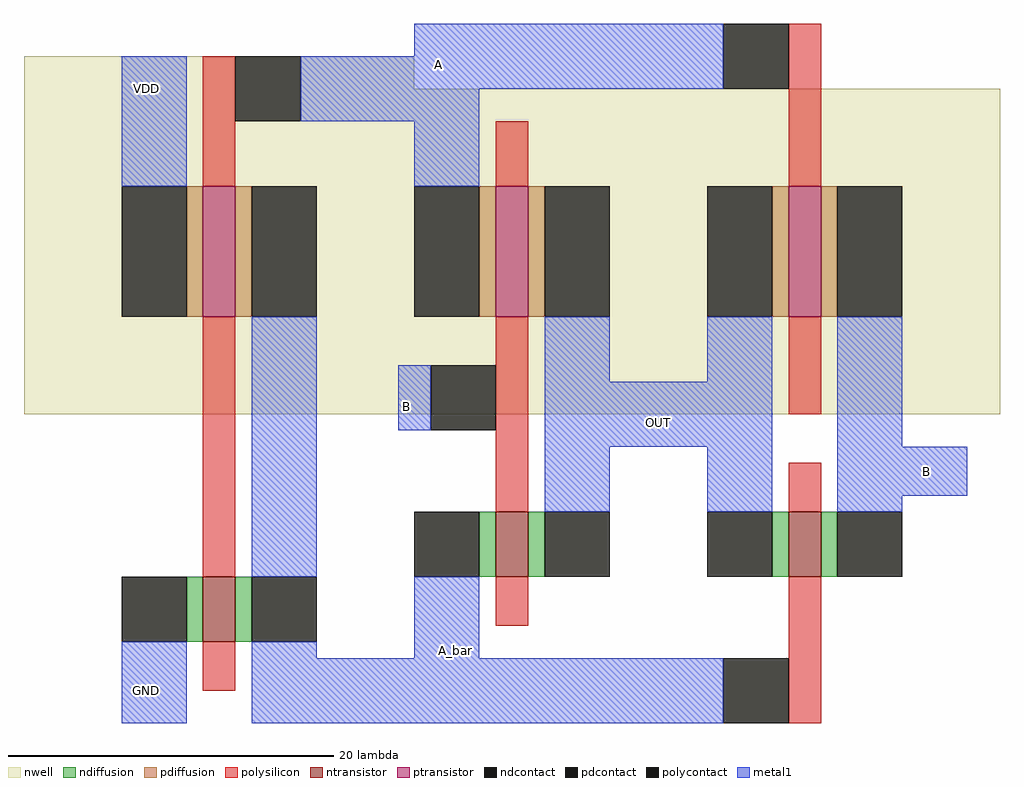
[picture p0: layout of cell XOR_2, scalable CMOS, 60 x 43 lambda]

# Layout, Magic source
magic
tech scmos
<< nwell >>
rect -4 21 20 23
rect -4 1 56 21
<< ntransistor >>
rect 25 -9 27 -5
rect 43 -9 45 -5
rect 7 -13 9 -9
<< ptransistor >>
rect 7 7 9 15
rect 25 7 27 15
rect 43 7 45 15
<< ndiffusion >>
rect 24 -9 25 -5
rect 27 -9 28 -5
rect 42 -9 43 -5
rect 45 -9 46 -5
rect 6 -13 7 -9
rect 9 -13 10 -9
<< pdiffusion >>
rect 6 7 7 15
rect 9 7 10 15
rect 24 7 25 15
rect 27 7 28 15
rect 42 7 43 15
rect 45 7 46 15
<< ndcontact >>
rect 20 -9 24 -5
rect 28 -9 32 -5
rect 38 -9 42 -5
rect 46 -9 50 -5
rect 2 -13 6 -9
rect 10 -13 14 -9
<< pdcontact >>
rect 2 7 6 15
rect 10 7 14 15
rect 20 7 24 15
rect 28 7 32 15
rect 38 7 42 15
rect 46 7 50 15
<< polysilicon >>
rect 7 15 9 23
rect 25 15 27 19
rect 43 15 45 25
rect 7 -9 9 7
rect 25 -5 27 7
rect 43 1 45 7
rect 43 -5 45 -2
rect 25 -12 27 -9
rect 7 -16 9 -13
rect 43 -18 45 -9
<< polycontact >>
rect 9 19 13 23
rect 39 21 43 25
rect 21 0 25 4
rect 39 -18 43 -14
<< metal1 >>
rect 20 23 39 25
rect 2 15 6 23
rect 13 21 39 23
rect 13 19 24 21
rect 20 15 24 19
rect 10 -9 14 7
rect 19 0 21 4
rect 28 3 32 7
rect 38 3 42 7
rect 28 -1 42 3
rect 28 -5 32 -1
rect 2 -18 6 -13
rect 10 -14 14 -13
rect 38 -5 42 -1
rect 46 -1 50 7
rect 46 -4 54 -1
rect 46 -5 50 -4
rect 20 -14 24 -9
rect 10 -18 39 -14
<< labels >>
rlabel metal1 21 22 22 23 5 A
rlabel metal1 22 -14 23 -13 1 A_bar
rlabel metal1 19 1 20 2 3 B
rlabel metal1 51 -3 52 -2 7 B
rlabel metal1 34 0 36 1 1 OUT
rlabel metal1 3 20 4 22 5 VDD
rlabel metal1 3 -17 4 -15 1 GND
<< end >>
